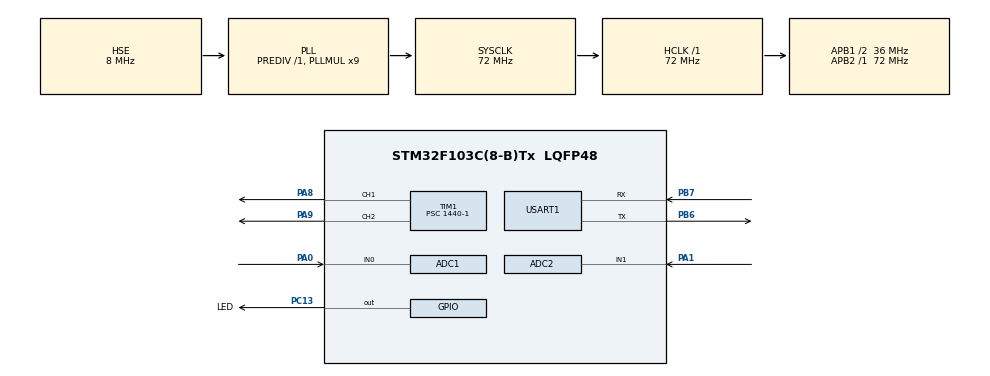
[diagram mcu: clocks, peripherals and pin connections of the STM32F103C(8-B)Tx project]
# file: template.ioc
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ADC1.Channel-0\#ChannelRegularConversion=ADC_CHANNEL_0
ADC1.NbrOfConversionFlag=1
ADC1.Rank-0\#ChannelRegularConversion=1
ADC1.SamplingTime-0\#ChannelRegularConversion=ADC_SAMPLETIME_1CYCLE_5
ADC1.master=1
ADC2.Channel-0\#ChannelRegularConversion=ADC_CHANNEL_1
ADC2.NbrOfConversionFlag=1
ADC2.Rank-0\#ChannelRegularConversion=1
ADC2.SamplingTime-0\#ChannelRegularConversion=ADC_SAMPLETIME_1CYCLE_5
Mcu.Family=STM32F1
Mcu.Name=STM32F103C(8-B)Tx
Mcu.Package=LQFP48
NVIC.PriorityGroup=NVIC_PRIORITYGROUP_4
PA0-WKUP.Signal=ADCx_IN0
PA1.Signal=ADCx_IN1
PA13.Mode=Serial_Wire
PA13.Signal=SYS_JTMS-SWDIO
PA14.Mode=Serial_Wire
PA14.Signal=SYS_JTCK-SWCLK
PA8.Signal=S_TIM1_CH1
PA9.Signal=S_TIM1_CH2
PB6.Mode=Asynchronous
PB6.Signal=USART1_TX
PB7.Mode=Asynchronous
PB7.Signal=USART1_RX
PC13-TAMPER-RTC.GPIO_Label=LED
PC13-TAMPER-RTC.PinState=GPIO_PIN_SET
PC13-TAMPER-RTC.Signal=GPIO_Output
PC14-OSC32_IN.Mode=LSE-External-Oscillator
PC14-OSC32_IN.Signal=RCC_OSC32_IN
PC15-OSC32_OUT.Mode=LSE-External-Oscillator
PC15-OSC32_OUT.Signal=RCC_OSC32_OUT
PD0-OSC_IN.Mode=HSE-External-Oscillator
PD0-OSC_IN.Signal=RCC_OSC_IN
PD1-OSC_OUT.Mode=HSE-External-Oscillator
PD1-OSC_OUT.Signal=RCC_OSC_OUT
ProjectManager.HeapSize=0x200
ProjectManager.StackSize=0x400
ProjectManager.TargetToolchain=Makefile
RCC.ADCPresc=RCC_ADCPCLK2_DIV6
RCC.AHBFreq_Value=72000000
RCC.APB1CLKDivider=RCC_HCLK_DIV2
RCC.APB1Freq_Value=36000000
RCC.APB1TimFreq_Value=72000000
RCC.APB2Freq_Value=72000000
RCC.APB2TimFreq_Value=72000000
RCC.HCLKFreq_Value=72000000
RCC.PLLMUL=RCC_PLL_MUL9
RCC.PLLSourceVirtual=RCC_PLLSOURCE_HSE
RCC.SYSCLKFreq_VALUE=72000000
RCC.SYSCLKSource=RCC_SYSCLKSOURCE_PLLCLK
RCC.USBFreq_Value=72000000
SH.ADCx_IN0.0=ADC1_IN0,IN0
SH.ADCx_IN1.0=ADC2_IN1,IN1
SH.S_TIM1_CH1.0=TIM1_CH1,PWM Generation1 CH1
SH.S_TIM1_CH2.0=TIM1_CH2,PWM Generation2 CH2
TIM1.Channel-PWM\ Generation1\ CH1=TIM_CHANNEL_1
TIM1.Channel-PWM\ Generation2\ CH2=TIM_CHANNEL_2
TIM1.Period=1000-1
TIM1.Prescaler=1440-1
TIM1.Pulse-PWM\ Generation1\ CH1=100-1
TIM1.Pulse-PWM\ Generation2\ CH2=100-1
USART1.VirtualMode=VM_ASYNC
VP_TIM1_VS_ClockSourceINT.Mode=Internal
board=custom

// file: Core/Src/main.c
/* USER CODE BEGIN Header */
/**
  ******************************************************************************
  * @file           : main.c
  * @brief          : Main program body
  ******************************************************************************
  * @attention
  *
  * <h2><center>&copy; Copyright (c) 2021 STMicroelectronics.
  * All rights reserved.</center></h2>
  *
  * This software component is licensed by ST under BSD 3-Clause license,
  * the "License"; You may not use this file except in compliance with the
  * License. You may obtain a copy of the License at:
  *                        opensource.org/licenses/BSD-3-Clause
  *
  ******************************************************************************
  */
/* USER CODE END Header */
#include "main.h"
#include "adc.h"
#include "tim.h"
#include "usart.h"
#include "gpio.h"

/* USER CODE BEGIN PV */
double vol[2];
uint32_t adc_value[2];
/* USER CODE END PV */

void SystemClock_Config(void);
/* USER CODE BEGIN PFP */
void MG996R(uint8_t mode,uint8_t angle){
  if (mode==0)
  {
    if (angle<=180&&angle>=0)
    {//112 37
      __HAL_TIM_SET_COMPARE(&htim1,TIM_CHANNEL_1,angle/180.0*75+37-1);
      //水平舵机
    }
  }else if(mode==1)
  {
    if (angle<=180&&angle>=0)
    {
      __HAL_TIM_SET_COMPARE(&htim1,TIM_CHANNEL_2,angle/180.0*100+25-1);
      //垂直舵机
    }
  }

}

void GetADC(uint8_t channel){
  if (channel==0)
  {
    HAL_ADC_Start(&hadc1);	                //启动ADC单次转换
    HAL_ADC_PollForConversion(&hadc1, 50);	//等待ADC转换完成
    adc_value[0] = HAL_ADC_GetValue(&hadc1); 	//读取ADC转换数据
    vol[0] = ((double)adc_value[0]/4096)*3.3;
  }else{
    HAL_ADC_Start(&hadc2);	                //启动ADC单次转换
    HAL_ADC_PollForConversion(&hadc2, 50);	//等待ADC转换完成
    adc_value[1] = HAL_ADC_GetValue(&hadc2); 	//读取ADC转换数据
    vol[1] = ((double)adc_value[1]/4096)*3.3;
  }

}
/* USER CODE END PFP */

int main(void)
{

  /* MCU Configuration--------------------------------------------------------*/

  /* Reset of all peripherals, Initializes the Flash interface and the Systick. */
  HAL_Init();

  /* Configure the system clock */
  SystemClock_Config();

  /* Initialize all configured peripherals */
  MX_GPIO_Init();
  MX_USART1_UART_Init();
  MX_TIM1_Init();
  MX_ADC1_Init();
  MX_ADC2_Init();
  /* USER CODE BEGIN 2 */
  HAL_TIM_PWM_Start(&htim1,TIM_CHANNEL_1);
  HAL_TIM_PWM_Start(&htim1,TIM_CHANNEL_2);
  uint16_t time_div=2000;
  // MG996R(1,135);

  uint8_t pos_x=90;
  uint8_t pos_y=30;/* 30~130 */
  MG996R(0,pos_x);
  MG996R(1,pos_y);
  HAL_Delay(100);
  /* USER CODE END 2 */

  /* Infinite loop */
  /* USER CODE BEGIN WHILE */
  while (1)
  {
    GetADC(0);//x max = 1.79  adcx 变小，posx变大
    GetADC(1);//y max = 2.07  adcy 变小，posy变大
    if(vol[0]<1.71&&pos_x>0)
    {
      pos_x--;
    }else if(vol[0]>1.80&&pos_x<180){
      pos_x++;
    }
    if(vol[1]<1.95&&pos_y<130)
    {
      pos_y++;
    }else if(vol[1]>2.19&&pos_y>30){
      pos_y--;
    }
    printf("pos_x: %3d adc = %d vol 0 = %.2fV.\n",pos_x,adc_value[0],vol[0]);
    printf("pos_y: %3d adc = %d vol 1 = %.2fV.\n",pos_y,adc_value[1],vol[1]);

    MG996R(0,pos_x);
    MG996R(1,pos_y);
    HAL_Delay(10);

    //转向测试
    // for (size_t i = 0; i < 180; i++)
    // {
    //   MG996R(0,i);
    //   HAL_Delay(10);
    // }
    // for (size_t i = 180; i > 0; i--)
    // {
    //   MG996R(0,i);
    //   HAL_Delay(10);

    // }
    // for (size_t i = 30; i <130; i++)
    // {
    //   MG996R(1,i);
    //   HAL_Delay(10);
    // }
    // for (size_t i = 130; i >30; i--)
    // {
    //   MG996R(1,i);
    //   HAL_Delay(10);
    // }

    /* USER CODE END WHILE */

  }
}

void SystemClock_Config(void)
{
  RCC_OscInitTypeDef RCC_OscInitStruct = {0};
  RCC_ClkInitTypeDef RCC_ClkInitStruct = {0};
  RCC_PeriphCLKInitTypeDef PeriphClkInit = {0};

  /** Initializes the RCC Oscillators according to the specified parameters
  * in the RCC_OscInitTypeDef structure.
  */
  RCC_OscInitStruct.OscillatorType = RCC_OSCILLATORTYPE_HSE;
  RCC_OscInitStruct.HSEState = RCC_HSE_ON;
  RCC_OscInitStruct.HSEPredivValue = RCC_HSE_PREDIV_DIV1;
  RCC_OscInitStruct.HSIState = RCC_HSI_ON;
  RCC_OscInitStruct.PLL.PLLState = RCC_PLL_ON;
  RCC_OscInitStruct.PLL.PLLSource = RCC_PLLSOURCE_HSE;
  RCC_OscInitStruct.PLL.PLLMUL = RCC_PLL_MUL9;
  if (HAL_RCC_OscConfig(&RCC_OscInitStruct) != HAL_OK)
  {
    Error_Handler();
  }
  /** Initializes the CPU, AHB and APB buses clocks
  */
  RCC_ClkInitStruct.ClockType = RCC_CLOCKTYPE_HCLK|RCC_CLOCKTYPE_SYSCLK
                              |RCC_CLOCKTYPE_PCLK1|RCC_CLOCKTYPE_PCLK2;
  RCC_ClkInitStruct.SYSCLKSource = RCC_SYSCLKSOURCE_PLLCLK;
  RCC_ClkInitStruct.AHBCLKDivider = RCC_SYSCLK_DIV1;
  RCC_ClkInitStruct.APB1CLKDivider = RCC_HCLK_DIV2;
  RCC_ClkInitStruct.APB2CLKDivider = RCC_HCLK_DIV1;

  if (HAL_RCC_ClockConfig(&RCC_ClkInitStruct, FLASH_LATENCY_2) != HAL_OK)
  {
    Error_Handler();
  }
  PeriphClkInit.PeriphClockSelection = RCC_PERIPHCLK_ADC;
  PeriphClkInit.AdcClockSelection = RCC_ADCPCLK2_DIV6;
  if (HAL_RCCEx_PeriphCLKConfig(&PeriphClkInit) != HAL_OK)
  {
    Error_Handler();
  }
}

void Error_Handler(void)
{
  __disable_irq();
  while (1)
  {
  }
}

/************************ (C) COPYRIGHT STMicroelectronics *****END OF FILE****/
